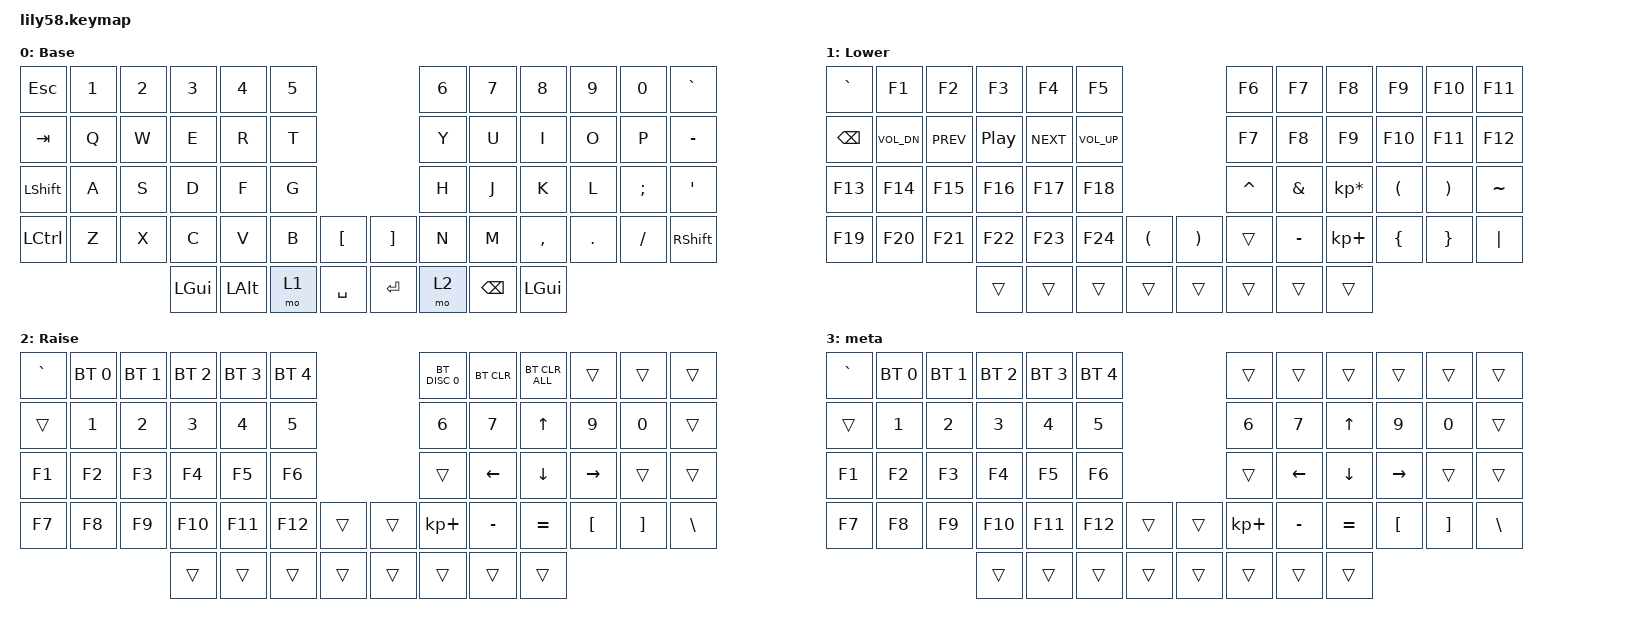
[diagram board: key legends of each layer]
/*
 * Copyright (c) 2020 The ZMK Contributors
 *
 * SPDX-License-Identifier: MIT
 */

#include <behaviors.dtsi>
#include <dt-bindings/zmk/bt.h>
#include <dt-bindings/zmk/keys.h>

/ {
    keymap {
        compatible = "zmk,keymap";

        qwerty {
            // ------------------------------------------------------------------------------------------------------------
            // |  ESC  |  1  |  2  |  3   |  4   |  5   |                   |  6   |  7    |  8    |  9   |   0   |   `   |
            // |  TAB  |  Q  |  W  |  E   |  R   |  T   |                   |  Y   |  U    |  I    |  O   |   P   |   -   |
            // |  CTRL |  A  |  S  |  D   |  F   |  G   |                   |  H   |  J    |  K    |  L   |   ;   |   '   |
            // | SHIFT |  Z  |  X  |  C   |  V   |  B   |   "["  |  |  "]"  |  N   |  M    |  ,    |  .   |   /   | SHIFT |
            //                     | ALT  | GUI  | LOWER|  SPACE |  | ENTER | RAISE| BSPC  | GUI   |

            display-name = "Base";
            bindings = <
&kp ESC    &kp N1  &kp N2  &kp N3    &kp N4        &kp N5                         &kp N6  &kp N7    &kp N8     &kp N9   &kp N0    &kp GRAVE
&kp TAB    &kp Q   &kp W   &kp E     &kp R         &kp T                          &kp Y   &kp U     &kp I      &kp O    &kp P     &kp MINUS
&kp LSHFT  &kp A   &kp S   &kp D     &kp F         &kp G                          &kp H   &kp J     &kp K      &kp L    &kp SEMI  &kp SQT
&kp LCTRL  &kp Z   &kp X   &kp C     &kp V         &kp B   &kp LBKT     &kp RBKT  &kp N   &kp M     &kp COMMA  &kp DOT  &kp FSLH  &kp RSHFT
                           &kp LGUI  &kp LEFT_ALT  &mo 1   &kp SPACE    &kp RET   &mo 2   &kp BSPC  &kp LGUI
            >;
        };

        lower {
            // ------------------------------------------------------------------------------------------------------------
            // | BTCLR | BT1 | BT2 |  BT3 |  BT4 |  BT5 |                   |      |       |       |      |       |       |
            // |  F1   |  F2 |  F3 |  F4  |  F5  |  F6  |                   |  F7  |  F8   |  F9   |  F10 |  F11  |  F12  |
            // |   `   |  !  |  @  |  #   |  $   |  %   |                   |  ^   |  &    |  *    |  (   |   )   |   ~   |
            // |       |     |     |      |      |      |        |  |       |      |  _    |  +    |  {   |   }   |  "|"  |
            //                     |      |      |      |        |  |       |      |       |       |

            display-name = "Lower";
            bindings = <
&kp GRAVE      &kp F1        &kp F2      &kp F3    &kp F4      &kp F5                                                          &kp F6     &kp F7     &kp F8           &kp F9    &kp F10   &kp F11
&kp BACKSPACE  &kp C_VOL_DN  &kp C_PREV  &kp C_PP  &kp C_NEXT  &kp C_VOLUME_UP                                                 &kp F7     &kp F8     &kp F9           &kp F10   &kp F11   &kp F12
&kp F13        &kp F14       &kp F15     &kp F16   &kp F17     &kp F18                                                         &kp CARET  &kp AMPS   &kp KP_MULTIPLY  &kp LPAR  &kp RPAR  &kp TILDE
&kp F19        &kp F20       &kp F21     &kp F22   &kp F23     &kp F24          &kp LEFT_PARENTHESIS    &kp RIGHT_PARENTHESIS  &trans     &kp MINUS  &kp KP_PLUS      &kp LBRC  &kp RBRC  &kp PIPE
                                         &trans    &trans      &trans           &trans                  &trans                 &trans     &trans     &trans
            >;
        };

        raise {
            // ------------------------------------------------------------------------------------------------------------
            // |       |     |     |      |      |      |                   |      |       |       |      |       |       |
            // |   `   |  1  |  2  |  3   |  4   |  5   |                   |  6   |   7   |   8   |  9   |   0   |       |
            // |   F1  |  F2 |  F3 |  F4  |  F5  |  F6  |                   |      |   <-  |   v   |  ^   |  ->   |       |
            // |   F7  |  F8 |  F9 |  F10 |  F11 |  F12 |        |  |       |  +   |   -   |   =   |  [   |   ]   |   \   |
            //                     |      |      |      |        |  |       |      |       |       |

            display-name = "Raise";
            bindings = <
&kp GRAVE  &bt BT_SEL 0  &bt BT_SEL 1  &bt BT_SEL 2  &bt BT_SEL 3  &bt BT_SEL 4                    &bt BT_DISC 0  &bt BT_CLR  &bt BT_CLR_ALL  &trans     &trans    &trans
&trans     &kp N1        &kp N2        &kp N3        &kp N4        &kp N5                          &kp N6         &kp N7      &kp UP_ARROW    &kp N9     &kp N0    &trans
&kp F1     &kp F2        &kp F3        &kp F4        &kp F5        &kp F6                          &trans         &kp LEFT    &kp DOWN        &kp RIGHT  &trans    &trans
&kp F7     &kp F8        &kp F9        &kp F10       &kp F11       &kp F12       &trans    &trans  &kp KP_PLUS    &kp MINUS   &kp EQUAL       &kp LBKT   &kp RBKT  &kp BSLH
                                       &trans        &trans        &trans        &trans    &trans  &trans         &trans      &trans
            >;
        };

        meta {
            display-name = "meta";
            bindings = <
&kp GRAVE  &bt BT_SEL 0  &bt BT_SEL 1  &bt BT_SEL 2  &bt BT_SEL 3  &bt BT_SEL 4                    &trans       &trans     &trans        &trans     &trans    &trans
&trans     &kp N1        &kp N2        &kp N3        &kp N4        &kp N5                          &kp N6       &kp N7     &kp UP_ARROW  &kp N9     &kp N0    &trans
&kp F1     &kp F2        &kp F3        &kp F4        &kp F5        &kp F6                          &trans       &kp LEFT   &kp DOWN      &kp RIGHT  &trans    &trans
&kp F7     &kp F8        &kp F9        &kp F10       &kp F11       &kp F12       &trans    &trans  &kp KP_PLUS  &kp MINUS  &kp EQUAL     &kp LBKT   &kp RBKT  &kp BSLH
                                       &trans        &trans        &trans        &trans    &trans  &trans       &trans     &trans
            >;
        };
    };
};
